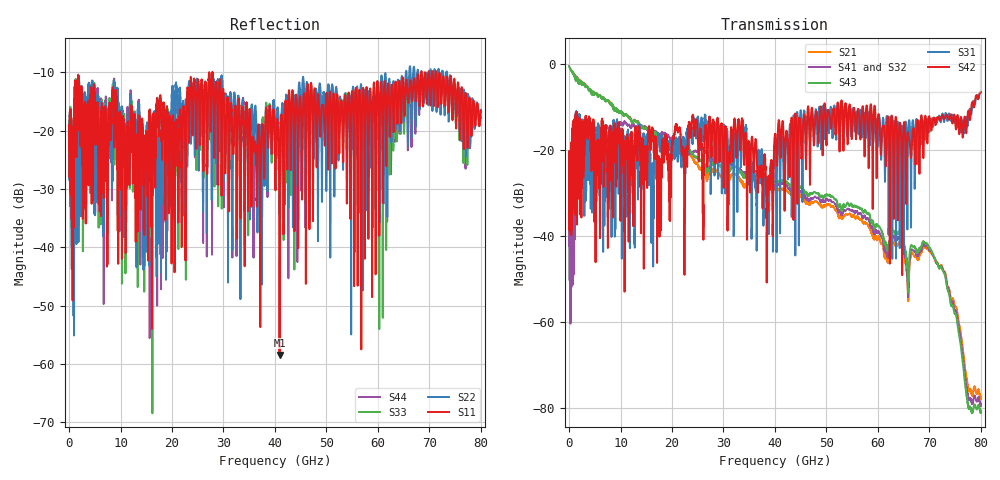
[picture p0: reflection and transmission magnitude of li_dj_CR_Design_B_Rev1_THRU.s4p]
! Intel Corp. Fri Apr 28 09:31:52 2023
! Port Configuration:
! Port 1 --|  |-- Port 2
! Port 3 --|  |-- Port 4
! Reference: li_dj_CR_Design_B_Rev1_reference.pdf
# HZ S DB R 50.00
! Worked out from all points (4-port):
!   8000 points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, 10 MHz to 80 GHz, reference 50 ohm
!   strongest paths, dB at 10 MHz, 20.01 GHz, 40.01 GHz, 60.01 GHz, 80 GHz:
!     S42: -28.7, -19.1, -16.5, -12.4, -6.6
!     S31: -28.7, -18.1, -19.0, -17.1, -6.6
!     S43: -0.6, -18.3, -27.3, -37.7, -81.1
!     S41: -42.2, -18.4, -28.2, -39.2, -79.4
!     S32: -42.2, -18.3, -28.1, -39.1, -79.5
!     S21: -0.6, -18.5, -29.0, -40.5, -77.8
!   lowest |S11| = -58.5 dB at 40.89 GHz (marker M1), VSWR 1.00, Z = 50 - j0.117 ohm
!   |S11| at or under -10 dB: start of sweep to 27.25 GHz; 27.84 GHz to 68.4 GHz (40.56 GHz wide, 84.3 % of centre); 71.33 GHz to end of sweep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
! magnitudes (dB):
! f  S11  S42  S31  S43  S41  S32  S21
! 10 MHz  -23.2  -28.7  -28.7  -0.6  -42.2  -42.2  -0.6
! 4.93 GHz  -14.0  -23.2  -17.6  -7.1  -15.0  -15.0  -6.9
! 33.3 GHz  -35.0  -19.3  -19.4  -25.4  -24.9  -25.0  -27.4
! 38.64 GHz  -22.8  -29.1  -31.5  -26.6  -27.7  -27.7  -27.8
! 40.89 GHz  -58.5  -14.5  -22.5  -27.2  -27.9  -28.1  -29.2
! 69.61 GHz  -13.3  -18.5  -12.9  -41.9  -42.2  -42.6  -42.9
! 80 GHz  -16.6  -6.6  -6.6  -81.1  -79.4  -79.5  -77.8
